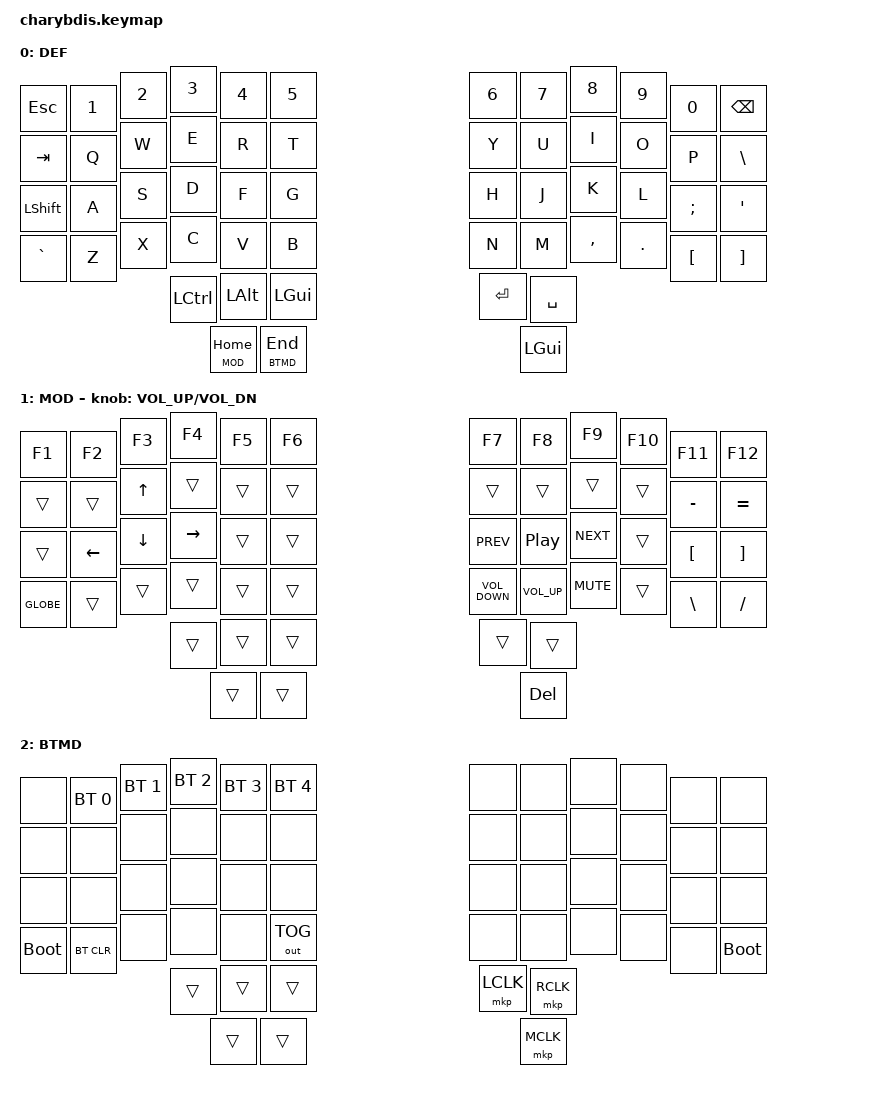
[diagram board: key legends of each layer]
#include <behaviors.dtsi>
#include <input/processors.dtsi>
#include <dt-bindings/zmk/bt.h>
#include <dt-bindings/zmk/keys.h>
#include <dt-bindings/zmk/pointing.h>
#include <dt-bindings/zmk/input_transform.h>
#include <dt-bindings/zmk/outputs.h>
#include <behaviors/mouse_keys.dtsi>
#include <dt-bindings/zmk/ext_power.h>

// / {
//     chosen { zmk,matrix_transform = &default_transform; };
// };

#define DEF 0
#define MOD 1
#define BTMD 2

/* Trackball. The listener is declared in charybdis_pmw3610.dtsi; here we only
 * attach input processors to it.
 *
 * Only one override is declared, and the first matching override wins and skips
 * the base processors (there is no `process-next` here). So: on MOD the scroll
 * override matches and the ball scrolls; on DEF and BTMD nothing matches and the
 * base processors run, so the ball moves the cursor.
 */

&trackball_listener {
    /* cursor movement at half speed -- DEF and BTMD */
    input-processors = <&zip_xy_scaler 1 2>;

    scroll {
        layers = <MOD>;
        /* scale while the events are still X/Y: the mapper rewrites them to
         * HWHEEL/WHEEL, so it has to come last. */
        input-processors = <&zip_xy_transform (INPUT_TRANSFORM_Y_INVERT)>,
                           <&zip_xy_scaler 1 56>,
                           <&zip_xy_to_scroll_mapper>;
    };
};

/ {
    /* Thumb layer-taps: hold = layer, tap = Home/End. */

    behaviors {
        thumb_lt: thumb_layer_tap {
            compatible = "zmk,behavior-hold-tap";
            #binding-cells = <2>;
            bindings = <&mo>, <&kp>;
            flavor = "tap-preferred";
            tapping-term-ms = <200>;
            quick-tap-ms = <150>;
        };
    };

    keymap {
        compatible = "zmk,keymap";

        DEF {
            bindings = <
&kp ESC     &kp NUMBER_1  &kp N2  &kp N3     &kp N4  &kp N5       &kp N6     &kp N7     &kp N8     &kp N9   &kp N0     &kp BACKSPACE
&kp TAB     &kp Q         &kp W   &kp E      &kp R   &kp T        &kp Y      &kp U      &kp I      &kp O    &kp P      &kp BACKSLASH
&kp LSHIFT  &kp A         &kp S   &kp D      &kp F   &kp G        &kp H      &kp J      &kp K      &kp L    &kp SEMI   &kp APOS
&kp GRAVE   &kp Z         &kp X   &kp C      &kp V   &kp B        &kp N      &kp M      &kp COMMA  &kp DOT  &kp LEFT_BRACKET  &kp RIGHT_BRACKET
                                  &kp LGUI   &thumb_lt MOD HOME   &kp LCTRL    &kp SPACE
                                             &thumb_lt BTMD END   &kp LALT    &kp LGUI  &kp ENTER
            >;
        };

        MOD {
            bindings = <
&kp F1  &kp F2      &kp F3             &kp F4           &kp F5         &kp F6               &kp F7     &kp F8     &kp F9    &kp F10    &kp F11          &kp F12
&trans  &trans      &kp UP             &trans           &trans         &trans               &trans            &trans            &trans      &trans     &kp MINUS     &kp EQUAL
&trans  &kp LEFT    &kp DOWN           &kp RIGHT        &trans         &trans               &kp C_PREV        &kp C_PLAY_PAUSE  &kp C_NEXT  &trans     &kp LBKT      &kp RBKT
&kp GLOBE  &trans     &trans             &trans           &trans         &trans               &kp C_VOLUME_DOWN  &kp C_VOLUME_UP   &kp C_MUTE &trans     &kp BACKSLASH &kp SLASH
                                       &trans           &trans         &trans               &trans
                                                        &trans         &trans               &kp DEL   &trans
            >;

            sensor-bindings = <&inc_dec_kp C_VOL_UP C_VOL_DN>;
        };

        BTMD {
            bindings = <
&none      &bt BT_SEL 0  &bt BT_SEL 1  &bt BT_SEL 2  &bt BT_SEL 3  &bt BT_SEL 4    &none      &none   &none   &none   &none   &none
&none      &none         &none         &none         &none         &none           &none      &none   &none   &none   &none   &none
&none      &none         &none         &none         &none         &none           &none      &none   &none   &none   &none   &none
&bootloader &bt BT_CLR    &none         &none         &none         &out OUT_TOG    &none      &none   &none   &none   &none   &bootloader
                                      &trans        &trans        &trans          &mkp RCLK
                                                    &trans        &trans          &mkp MCLK  &mkp LCLK
            >;
        };
    };
};
